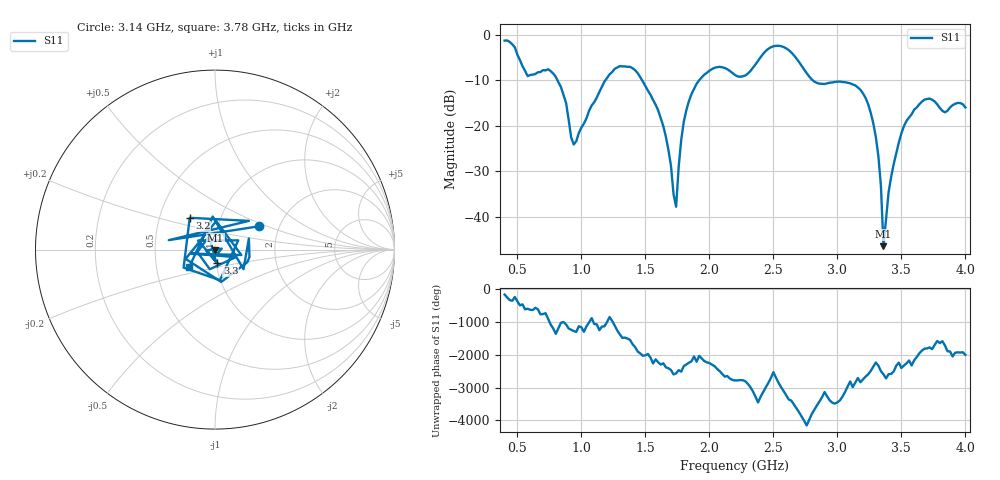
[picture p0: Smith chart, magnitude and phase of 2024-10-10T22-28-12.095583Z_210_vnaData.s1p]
! Created with skrf (http://scikit-rf.org).
# Hz S RI R 50.0
!freq ReS11 ImS11
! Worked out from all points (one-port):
!   181 points, 400 MHz to 4 GHz, reference 50 ohm
!   lowest |S11| = -46.4 dB at 3.36 GHz (marker M1), VSWR 1.01, Z = 50.1 - j0.47 ohm
!   |S11| at or under -10 dB: 812.3 MHz to 1.188 GHz (375.7 MHz wide, 37.6 % of centre); 1.474 GHz to 1.921 GHz (446.9 MHz wide, 26.3 % of centre); 2.806 GHz to end of sweep
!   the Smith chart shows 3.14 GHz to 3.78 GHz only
!   S11 on the Smith chart (normalised r, x): 3.14 GHz: 1.57, +0.44; 3.2 GHz: 0.71, +0.27; 3.3 GHz: 1.02, -0.15; 3.78 GHz: 0.74, -0.14
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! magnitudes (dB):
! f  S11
! 400 MHz  -1.3
! 580 MHz  -9.1
! 740 MHz  -7.6
! 860 MHz  -13.2
! 940 MHz  -24.1
! 1.3 GHz  -6.9
! 1.44 GHz  -8.5
! 1.6 GHz  -16.6
! 1.68 GHz  -25.3
! 1.74 GHz  -37.8
! 1.76 GHz  -29.0
! 1.8 GHz  -19.1
! 1.9 GHz  -10.8
! 2.06 GHz  -7.2
! 2.2 GHz  -8.9
! 2.5 GHz  -2.6
! 2.66 GHz  -4.6
! 2.84 GHz  -10.6
! 3.1 GHz  -10.7
! 3.14 GHz  -11.2
! 3.2 GHz  -12.9
! 3.3 GHz  -22.4
! 3.34 GHz  -33.2
! 3.36 GHz  -46.4
! 3.42 GHz  -31.2
! 3.56 GHz  -18.2
! 3.78 GHz  -15.3
! 4 GHz  -16.0
